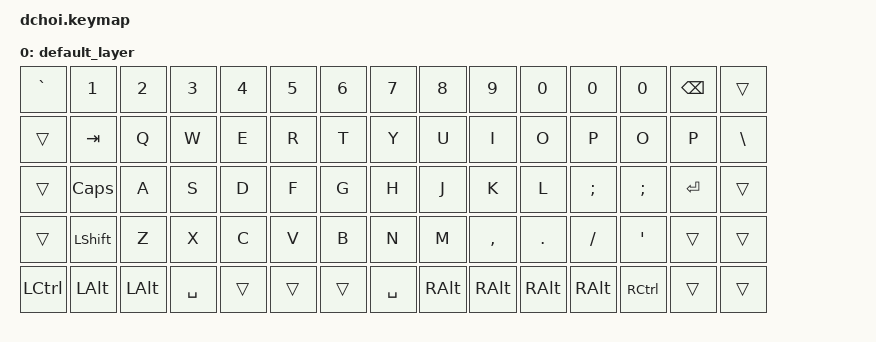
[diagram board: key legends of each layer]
/*
 * Copyright (c) 2020 The ZMK Contributors
 *
 * SPDX-License-Identifier: MIT
 */

#include <behaviors.dtsi>
#include <dt-bindings/zmk/keys.h>
#include <dt-bindings/zmk/bt.h>

/ {
        keymap {
                compatible = "zmk,keymap";

                default_layer {
// ---------------------------------------------------------------------------------
// |   `  |  1  |  2  |  3  |  4  |  5  |  6  |     |  7  |  8  |  9  |  0  | BKSP |
// |  TAB |  Q  |  W  |  E  |  R  |  T  |     |  Y  |  U  |  I  |  O  |  P  |  \   |
// | CAPS |  A  |  S  |  D  |  F  |  G  |     |  H  |  J  |  K  |  L  |  ;  |  ENT |
// | SHFT |  Z  |  X  |  C  |  V  |  B  |     |  N  |  M  |  ,  |  .  |  /  | APOS |
// | CTRL | ALT | ALT | SPC |                 | SPC | ALT | ALT | ALT |LOW  | CTRL |
                        bindings = <
   &kp GRAVE  &kp N1    &kp N2    &kp N3    &kp N4     &kp N5     &kp N6                        &kp N7     &kp N8   &kp N9     &kp N0    &kp N0    &kp N0    &kp BSPC  &trans
   &trans     &kp TAB   &kp Q     &kp W     &kp E      &kp R      &kp T                         &kp Y      &kp U    &kp I      &kp O     &kp P     &kp O     &kp P     &kp BSLH
   &trans     &kp CAPS  &kp A     &kp S     &kp D      &kp F      &kp G                         &kp H      &kp J    &kp K      &kp L     &kp SEMI  &kp SEMI  &kp RET   &trans
   &trans     &kp LSHFT &kp Z     &kp X     &kp C      &kp V      &kp B                         &kp N      &kp M    &kp COMMA  &kp DOT   &kp FSLH  &kp APOS  &trans    &trans
   &kp LCTRL  &kp LALT  &kp LALT  &kp SPACE &trans     &trans     &trans                        &kp SPACE  &kp RALT &kp RALT   &kp RALT  &kp RALT  &kp RCTRL &trans    &trans
                        >;
                };
//                lower_layer {
// -----------------------------------------------------------------------------------------
// |  TAB |  1  |  2  |  3  |  4  |  5  |   |  6  |  7  |  8  |  9  |  0  | BSPC |
// | BTCLR| BT1 | BT2 | BT3 | BT4 | BT5 |   | LFT | DWN |  UP | RGT |     |      |
// | SHFT |     |     |     |     |     |   |     |     |     |     |     |      |
//                    | GUI |     | SPC |   | ENT |     | ALT |
//                        bindings = <
//   &kp TAB    &kp N1       &kp N2       &kp N3       &kp N4       &kp N5         &kp N6   &kp N7   &kp N8 &kp N9    &kp N0 &kp BSPC
//   &bt BT_CLR &bt BT_SEL 0 &bt BT_SEL 1 &bt BT_SEL 2 &bt BT_SEL 3 &bt BT_SEL 4   &kp LEFT &kp DOWN &kp UP &kp RIGHT &trans &trans
//   &kp LSHFT  &trans       &trans       &trans       &trans       &trans         &trans   &trans   &trans &trans    &trans &trans
//                                    &kp LGUI     &trans       &kp SPACE      &kp RET  &trans   &kp RALT
//                        >;
//                };
        };
};
